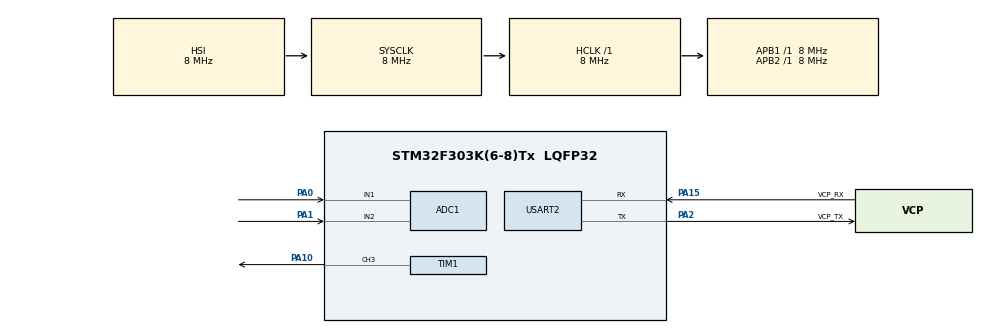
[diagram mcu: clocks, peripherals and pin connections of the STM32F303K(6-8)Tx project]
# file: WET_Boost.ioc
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ADC1.Channel-2\#ChannelRegularConversion=ADC_CHANNEL_2
ADC1.ContinuousConvMode=DISABLE
ADC1.DMAContinuousRequests=ENABLE
ADC1.EOCSelection=ADC_EOC_SEQ_CONV
ADC1.ExternalTrigConv=ADC_EXTERNALTRIGCONV_T2_TRGO
ADC1.NbrOfConversion=2
ADC1.NbrOfConversionFlag=1
ADC1.Offset-2\#ChannelRegularConversion=0
ADC1.OffsetNumber-2\#ChannelRegularConversion=ADC_OFFSET_NONE
ADC1.Rank-2\#ChannelRegularConversion=2
ADC1.SamplingTime-0\#ChannelRegularConversion=ADC_SAMPLETIME_61CYCLES_5
ADC1.SamplingTime-2\#ChannelRegularConversion=ADC_SAMPLETIME_61CYCLES_5
ADC1.SamplingTimeOPAMP-2\#ChannelRegularConversion=ADC_SAMPLETIME_7CYCLES_5
ADC1.SubFamily=STM32F303x8
ADC1.master=1
Dma.ADC1.0.Direction=DMA_PERIPH_TO_MEMORY
Dma.ADC1.0.Instance=DMA1_Channel1
Dma.ADC1.0.MemDataAlignment=DMA_MDATAALIGN_HALFWORD
Dma.ADC1.0.MemInc=DMA_MINC_ENABLE
Dma.ADC1.0.Mode=DMA_CIRCULAR
Dma.ADC1.0.PeriphDataAlignment=DMA_PDATAALIGN_HALFWORD
Dma.ADC1.0.PeriphInc=DMA_PINC_DISABLE
Dma.ADC1.0.Priority=DMA_PRIORITY_HIGH
Dma.Request0=ADC1
Mcu.Family=STM32F3
Mcu.Name=STM32F303K(6-8)Tx
Mcu.Package=LQFP32
NVIC.DMA1_Channel1_IRQn=true\:0\:0\:false\:false\:true\:false\:true\:true
NVIC.PriorityGroup=NVIC_PRIORITYGROUP_4
PA0.Mode=IN1-Single-Ended
PA0.Signal=ADC1_IN1
PA1.Mode=IN2-Single-Ended
PA1.Signal=ADC1_IN2
PA10.Signal=S_TIM1_CH3
PA13.GPIO_Label=SWDIO
PA13.Mode=Serial_Wire
PA13.Signal=SYS_JTMS-SWDIO
PA14.GPIO_Label=SWCLK
PA14.Mode=Serial_Wire
PA14.Signal=SYS_JTCK-SWCLK
PA15.GPIO_Label=VCP_RX
PA15.Mode=Asynchronous
PA15.Signal=USART2_RX
PA2.GPIO_Label=VCP_TX
PA2.Mode=Asynchronous
PA2.Signal=USART2_TX
PF0\ /\ OSC_IN.GPIO_Label=MCO
PF0\ /\ OSC_IN.Mode=HSE-External-Clock-Source
PF0\ /\ OSC_IN.Signal=RCC_OSC_IN
ProjectManager.HeapSize=0x200
ProjectManager.StackSize=0x400
ProjectManager.TargetToolchain=STM32CubeIDE
RCC.AHBFreq_Value=8000000
RCC.APB1Freq_Value=8000000
RCC.APB2Freq_Value=8000000
RCC.CortexFreq_Value=8000000
RCC.HSE_VALUE=8000000
RCC.HSI_VALUE=8000000
RCC.PLLMUL=RCC_PLL_MUL4
RCC.SYSCLKFreq_VALUE=8000000
SH.S_TIM1_CH3.0=TIM1_CH3,PWM Generation3 CH3
TIM1.Channel-PWM\ Generation3\ CH3=TIM_CHANNEL_3
TIM1.TIM_MasterOutputTrigger=TIM_TRGO_UPDATE
TIM2.Period=99
TIM2.Prescaler=799
TIM2.TIM_MasterOutputTrigger=TIM_TRGO_UPDATE
USART2.VirtualMode-Asynchronous=VM_ASYNC
VP_TIM2_VS_ClockSourceINT.Mode=Internal
board=NUCLEO-F303K8

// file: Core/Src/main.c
/* USER CODE BEGIN Header */
/**
  ******************************************************************************
  * @file           : main.c
  * @brief          : Main program body
  ******************************************************************************
  * @attention
  *
  * Copyright (c) 2026 STMicroelectronics.
  * All rights reserved.
  *
  * This software is licensed under terms that can be found in the LICENSE file
  * in the root directory of this software component.
  * If no LICENSE file comes with this software, it is provided AS-IS.
  *
  ******************************************************************************
  */
/* USER CODE END Header */
#include "main.h"

/* USER CODE BEGIN Includes */

#include <stdio.h>
#include <stdint.h>
#include <math.h>

#include "pwm.h"
#include "measurements.h"
#include "mppt.h"

#define MPPT_PERIOD_MS 500

/* USER CODE END Includes */

ADC_HandleTypeDef hadc1;
DMA_HandleTypeDef hdma_adc1;

TIM_HandleTypeDef htim1;
TIM_HandleTypeDef htim2;

UART_HandleTypeDef huart2;

/* USER CODE BEGIN PV */

uint16_t adc_raw[2];

/* USER CODE END PV */

void SystemClock_Config(void);
static void MX_GPIO_Init(void);
static void MX_DMA_Init(void);
static void MX_USART2_UART_Init(void);
static void MX_TIM1_Init(void);
static void MX_ADC1_Init(void);
static void MX_TIM2_Init(void);

/* USER CODE BEGIN 0 */

volatile uint16_t adc_dma_count = 0;

/* USER CODE END 0 */

int main(void)
{

  /* MCU Configuration--------------------------------------------------------*/

  /* Reset of all peripherals, Initializes the Flash interface and the Systick. */
  HAL_Init();

  /* USER CODE BEGIN Init */

  MPPT_Controller mppt;
  MPPT_Init(&mppt);

  Measurement_t measurement;
 // uint32_t adc_raw[2];

  /* USER CODE END Init */

  /* Configure the system clock */
  SystemClock_Config();

  /* Initialize all configured peripherals */
  MX_GPIO_Init();
  MX_DMA_Init();
  MX_USART2_UART_Init();
  MX_TIM1_Init();
  MX_ADC1_Init();
  MX_TIM2_Init();
  /* USER CODE BEGIN 2 */

  printf("UART check\r\n");

  HAL_StatusTypeDef status;

  status = HAL_ADC_Start_DMA(&hadc1, (uint32_t*)adc_raw, 2);

  HAL_TIM_Base_Start(&htim2);

  uint16_t ch1;
  uint16_t ch2;

  PWM_Init(55000, 0.5);

  uint32_t last_mppt_update = HAL_GetTick();

  /* USER CODE END 2 */

  /* Infinite loop */
  /* USER CODE BEGIN WHILE */
  while (1)
  {
	  //printf("ADC=%lu %lu \r\n", (unsigned long)adc_raw[0], (unsigned long)adc_raw[1]);

	  //HAL_ADC_PollForConversion(&hadc1, 10);
	  //uint16_t val = HAL_ADC_GetValue(&hadc1);
	  //printf("%u\r\n", val);

	  ch1 = adc_raw[0];
	  ch2 = adc_raw[1];

	  Measurement_Update(ch1, ch2);

	  if(HAL_GetTick() - last_mppt_update > MPPT_PERIOD_MS) {
		  measurement = Measurement_Get();

		  // MPPT: Perturb & Observe
		  //MPPT_Update(&mppt, measurement.power_filtered);
		  printf("Duty cycle: %.2f\r\n", mppt.duty_cycle);

		 //PWM_SetDutyCycle(mppt.duty_cycle);

		  last_mppt_update = HAL_GetTick();
	  }

    /* USER CODE END WHILE */

  }
}

void SystemClock_Config(void)
{
  RCC_OscInitTypeDef RCC_OscInitStruct = {0};
  RCC_ClkInitTypeDef RCC_ClkInitStruct = {0};
  RCC_PeriphCLKInitTypeDef PeriphClkInit = {0};

  /** Initializes the RCC Oscillators according to the specified parameters
  * in the RCC_OscInitTypeDef structure.
  */
  RCC_OscInitStruct.OscillatorType = RCC_OSCILLATORTYPE_HSI;
  RCC_OscInitStruct.HSIState = RCC_HSI_ON;
  RCC_OscInitStruct.HSICalibrationValue = RCC_HSICALIBRATION_DEFAULT;
  RCC_OscInitStruct.PLL.PLLState = RCC_PLL_ON;
  RCC_OscInitStruct.PLL.PLLSource = RCC_PLLSOURCE_HSI;
  RCC_OscInitStruct.PLL.PLLMUL = RCC_PLL_MUL4;
  if (HAL_RCC_OscConfig(&RCC_OscInitStruct) != HAL_OK)
  {
    Error_Handler();
  }

  /** Initializes the CPU, AHB and APB buses clocks
  */
  RCC_ClkInitStruct.ClockType = RCC_CLOCKTYPE_HCLK|RCC_CLOCKTYPE_SYSCLK
                              |RCC_CLOCKTYPE_PCLK1|RCC_CLOCKTYPE_PCLK2;
  RCC_ClkInitStruct.SYSCLKSource = RCC_SYSCLKSOURCE_HSI;
  RCC_ClkInitStruct.AHBCLKDivider = RCC_SYSCLK_DIV1;
  RCC_ClkInitStruct.APB1CLKDivider = RCC_HCLK_DIV1;
  RCC_ClkInitStruct.APB2CLKDivider = RCC_HCLK_DIV1;

  if (HAL_RCC_ClockConfig(&RCC_ClkInitStruct, FLASH_LATENCY_0) != HAL_OK)
  {
    Error_Handler();
  }
  PeriphClkInit.PeriphClockSelection = RCC_PERIPHCLK_TIM1|RCC_PERIPHCLK_ADC12;
  PeriphClkInit.Adc12ClockSelection = RCC_ADC12PLLCLK_DIV1;
  PeriphClkInit.Tim1ClockSelection = RCC_TIM1CLK_HCLK;
  if (HAL_RCCEx_PeriphCLKConfig(&PeriphClkInit) != HAL_OK)
  {
    Error_Handler();
  }
}

static void MX_ADC1_Init(void)
{

  ADC_MultiModeTypeDef multimode = {0};
  ADC_ChannelConfTypeDef sConfig = {0};

  /** Common config
  */
  hadc1.Instance = ADC1;
  hadc1.Init.ClockPrescaler = ADC_CLOCK_ASYNC_DIV1;
  hadc1.Init.Resolution = ADC_RESOLUTION_12B;
  hadc1.Init.ScanConvMode = ADC_SCAN_ENABLE;
  hadc1.Init.ContinuousConvMode = DISABLE;
  hadc1.Init.DiscontinuousConvMode = DISABLE;
  hadc1.Init.ExternalTrigConvEdge = ADC_EXTERNALTRIGCONVEDGE_RISING;
  hadc1.Init.ExternalTrigConv = ADC_EXTERNALTRIGCONV_T2_TRGO;
  hadc1.Init.DataAlign = ADC_DATAALIGN_RIGHT;
  hadc1.Init.NbrOfConversion = 2;
  hadc1.Init.DMAContinuousRequests = ENABLE;
  hadc1.Init.EOCSelection = ADC_EOC_SEQ_CONV;
  hadc1.Init.LowPowerAutoWait = DISABLE;
  hadc1.Init.Overrun = ADC_OVR_DATA_OVERWRITTEN;
  if (HAL_ADC_Init(&hadc1) != HAL_OK)
  {
    Error_Handler();
  }

  /** Configure the ADC multi-mode
  */
  multimode.Mode = ADC_MODE_INDEPENDENT;
  if (HAL_ADCEx_MultiModeConfigChannel(&hadc1, &multimode) != HAL_OK)
  {
    Error_Handler();
  }

  /** Configure Regular Channel
  */
  sConfig.Channel = ADC_CHANNEL_2;
  sConfig.Rank = ADC_REGULAR_RANK_2;
  sConfig.SingleDiff = ADC_SINGLE_ENDED;
  sConfig.SamplingTime = ADC_SAMPLETIME_61CYCLES_5;
  sConfig.OffsetNumber = ADC_OFFSET_NONE;
  sConfig.Offset = 0;
  if (HAL_ADC_ConfigChannel(&hadc1, &sConfig) != HAL_OK)
  {
    Error_Handler();
  }

  /** Configure Regular Channel
  */
  sConfig.Channel = ADC_CHANNEL_1;
  sConfig.Rank = ADC_REGULAR_RANK_1;
  if (HAL_ADC_ConfigChannel(&hadc1, &sConfig) != HAL_OK)
  {
    Error_Handler();
  }

}

static void MX_TIM1_Init(void)
{

  TIM_MasterConfigTypeDef sMasterConfig = {0};
  TIM_OC_InitTypeDef sConfigOC = {0};
  TIM_BreakDeadTimeConfigTypeDef sBreakDeadTimeConfig = {0};

  htim1.Instance = TIM1;
  htim1.Init.Prescaler = 0;
  htim1.Init.CounterMode = TIM_COUNTERMODE_UP;
  htim1.Init.Period = 65535;
  htim1.Init.ClockDivision = TIM_CLOCKDIVISION_DIV1;
  htim1.Init.RepetitionCounter = 0;
  htim1.Init.AutoReloadPreload = TIM_AUTORELOAD_PRELOAD_DISABLE;
  if (HAL_TIM_PWM_Init(&htim1) != HAL_OK)
  {
    Error_Handler();
  }
  sMasterConfig.MasterOutputTrigger = TIM_TRGO_UPDATE;
  sMasterConfig.MasterOutputTrigger2 = TIM_TRGO2_RESET;
  sMasterConfig.MasterSlaveMode = TIM_MASTERSLAVEMODE_DISABLE;
  if (HAL_TIMEx_MasterConfigSynchronization(&htim1, &sMasterConfig) != HAL_OK)
  {
    Error_Handler();
  }
  sConfigOC.OCMode = TIM_OCMODE_PWM1;
  sConfigOC.Pulse = 0;
  sConfigOC.OCPolarity = TIM_OCPOLARITY_HIGH;
  sConfigOC.OCNPolarity = TIM_OCNPOLARITY_HIGH;
  sConfigOC.OCFastMode = TIM_OCFAST_DISABLE;
  sConfigOC.OCIdleState = TIM_OCIDLESTATE_RESET;
  sConfigOC.OCNIdleState = TIM_OCNIDLESTATE_RESET;
  if (HAL_TIM_PWM_ConfigChannel(&htim1, &sConfigOC, TIM_CHANNEL_3) != HAL_OK)
  {
    Error_Handler();
  }
  sBreakDeadTimeConfig.OffStateRunMode = TIM_OSSR_DISABLE;
  sBreakDeadTimeConfig.OffStateIDLEMode = TIM_OSSI_DISABLE;
  sBreakDeadTimeConfig.LockLevel = TIM_LOCKLEVEL_OFF;
  sBreakDeadTimeConfig.DeadTime = 0;
  sBreakDeadTimeConfig.BreakState = TIM_BREAK_DISABLE;
  sBreakDeadTimeConfig.BreakPolarity = TIM_BREAKPOLARITY_HIGH;
  sBreakDeadTimeConfig.BreakFilter = 0;
  sBreakDeadTimeConfig.Break2State = TIM_BREAK2_DISABLE;
  sBreakDeadTimeConfig.Break2Polarity = TIM_BREAK2POLARITY_HIGH;
  sBreakDeadTimeConfig.Break2Filter = 0;
  sBreakDeadTimeConfig.AutomaticOutput = TIM_AUTOMATICOUTPUT_DISABLE;
  if (HAL_TIMEx_ConfigBreakDeadTime(&htim1, &sBreakDeadTimeConfig) != HAL_OK)
  {
    Error_Handler();
  }
  HAL_TIM_MspPostInit(&htim1);

}

static void MX_TIM2_Init(void)
{

  TIM_ClockConfigTypeDef sClockSourceConfig = {0};
  TIM_MasterConfigTypeDef sMasterConfig = {0};

  htim2.Instance = TIM2;
  htim2.Init.Prescaler = 799;
  htim2.Init.CounterMode = TIM_COUNTERMODE_UP;
  htim2.Init.Period = 99;
  htim2.Init.ClockDivision = TIM_CLOCKDIVISION_DIV1;
  htim2.Init.AutoReloadPreload = TIM_AUTORELOAD_PRELOAD_DISABLE;
  if (HAL_TIM_Base_Init(&htim2) != HAL_OK)
  {
    Error_Handler();
  }
  sClockSourceConfig.ClockSource = TIM_CLOCKSOURCE_INTERNAL;
  if (HAL_TIM_ConfigClockSource(&htim2, &sClockSourceConfig) != HAL_OK)
  {
    Error_Handler();
  }
  sMasterConfig.MasterOutputTrigger = TIM_TRGO_UPDATE;
  sMasterConfig.MasterSlaveMode = TIM_MASTERSLAVEMODE_DISABLE;
  if (HAL_TIMEx_MasterConfigSynchronization(&htim2, &sMasterConfig) != HAL_OK)
  {
    Error_Handler();
  }

}

static void MX_USART2_UART_Init(void)
{

  huart2.Instance = USART2;
  huart2.Init.BaudRate = 38400;
  huart2.Init.WordLength = UART_WORDLENGTH_8B;
  huart2.Init.StopBits = UART_STOPBITS_1;
  huart2.Init.Parity = UART_PARITY_NONE;
  huart2.Init.Mode = UART_MODE_TX_RX;
  huart2.Init.HwFlowCtl = UART_HWCONTROL_NONE;
  huart2.Init.OverSampling = UART_OVERSAMPLING_16;
  huart2.Init.OneBitSampling = UART_ONE_BIT_SAMPLE_DISABLE;
  huart2.AdvancedInit.AdvFeatureInit = UART_ADVFEATURE_NO_INIT;
  if (HAL_UART_Init(&huart2) != HAL_OK)
  {
    Error_Handler();
  }

}

static void MX_DMA_Init(void)
{

  /* DMA controller clock enable */
  __HAL_RCC_DMA1_CLK_ENABLE();

  /* DMA interrupt init */
  /* DMA1_Channel1_IRQn interrupt configuration */
  HAL_NVIC_SetPriority(DMA1_Channel1_IRQn, 0, 0);
  HAL_NVIC_EnableIRQ(DMA1_Channel1_IRQn);

}

static void MX_GPIO_Init(void)
{

  /* GPIO Ports Clock Enable */
  __HAL_RCC_GPIOF_CLK_ENABLE();
  __HAL_RCC_GPIOA_CLK_ENABLE();

}

/* USER CODE BEGIN 4 */

void HAL_ADC_ConvCpltCallback(ADC_HandleTypeDef *hadc)
{
	// debugging DMA - if it doesn't print this the DMA is not updating!!!
    //printf("DMA complete!\r\n");
    adc_dma_count++;
}

/* USER CODE END 4 */

void Error_Handler(void)
{
  /* USER CODE BEGIN Error_Handler_Debug */
  /* User can add his own implementation to report the HAL error return state */
    printf("ERROR HANDLER\r\n");

  __disable_irq();
  while (1)
  {
  }
  /* USER CODE END Error_Handler_Debug */
}
